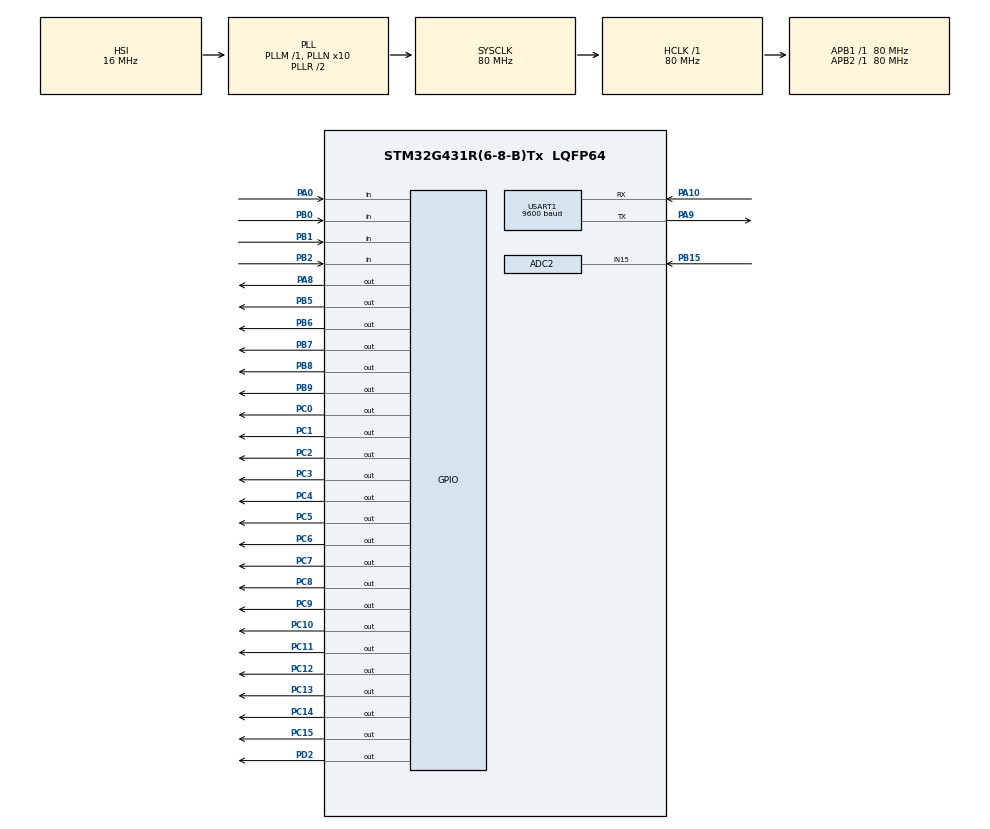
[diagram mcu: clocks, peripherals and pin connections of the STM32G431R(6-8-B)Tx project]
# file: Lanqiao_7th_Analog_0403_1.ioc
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ADC2.Channel-0\#ChannelRegularConversion=ADC_CHANNEL_15
ADC2.ClockPrescaler=ADC_CLOCK_ASYNC_DIV256
ADC2.ContinuousConvMode=DISABLE
ADC2.DMAContinuousRequests=ENABLE
ADC2.ExternalTrigConv=ADC_EXTERNALTRIG_T3_TRGO
ADC2.NbrOfConversionFlag=1
ADC2.OffsetNumber-0\#ChannelRegularConversion=ADC_OFFSET_NONE
ADC2.Rank-0\#ChannelRegularConversion=1
ADC2.SamplingTime-0\#ChannelRegularConversion=ADC_SAMPLETIME_2CYCLES_5
Dma.ADC2.0.Direction=DMA_PERIPH_TO_MEMORY
Dma.ADC2.0.EventEnable=DISABLE
Dma.ADC2.0.Instance=DMA1_Channel1
Dma.ADC2.0.MemDataAlignment=DMA_MDATAALIGN_HALFWORD
Dma.ADC2.0.MemInc=DMA_MINC_ENABLE
Dma.ADC2.0.Mode=DMA_CIRCULAR
Dma.ADC2.0.PeriphDataAlignment=DMA_PDATAALIGN_HALFWORD
Dma.ADC2.0.PeriphInc=DMA_PINC_DISABLE
Dma.ADC2.0.Polarity=HAL_DMAMUX_REQ_GEN_RISING
Dma.ADC2.0.Priority=DMA_PRIORITY_LOW
Dma.ADC2.0.RequestNumber=1
Dma.ADC2.0.SignalID=NONE
Dma.ADC2.0.SyncEnable=DISABLE
Dma.ADC2.0.SyncPolarity=HAL_DMAMUX_SYNC_NO_EVENT
Dma.ADC2.0.SyncRequestNumber=1
Dma.ADC2.0.SyncSignalID=NONE
Dma.Request0=ADC2
Dma.Request1=USART1_RX
Dma.USART1_RX.1.Direction=DMA_PERIPH_TO_MEMORY
Dma.USART1_RX.1.EventEnable=DISABLE
Dma.USART1_RX.1.Instance=DMA1_Channel2
Dma.USART1_RX.1.MemDataAlignment=DMA_MDATAALIGN_BYTE
Dma.USART1_RX.1.MemInc=DMA_MINC_ENABLE
Dma.USART1_RX.1.Mode=DMA_CIRCULAR
Dma.USART1_RX.1.PeriphDataAlignment=DMA_PDATAALIGN_BYTE
Dma.USART1_RX.1.PeriphInc=DMA_PINC_DISABLE
Dma.USART1_RX.1.Polarity=HAL_DMAMUX_REQ_GEN_RISING
Dma.USART1_RX.1.Priority=DMA_PRIORITY_LOW
Dma.USART1_RX.1.RequestNumber=1
Dma.USART1_RX.1.SignalID=NONE
Dma.USART1_RX.1.SyncEnable=DISABLE
Dma.USART1_RX.1.SyncPolarity=HAL_DMAMUX_SYNC_NO_EVENT
Dma.USART1_RX.1.SyncRequestNumber=1
Dma.USART1_RX.1.SyncSignalID=NONE
Mcu.Family=STM32G4
Mcu.Name=STM32G431R(6-8-B)Tx
Mcu.Package=LQFP64
NVIC.ADC1_2_IRQn=true\:3\:0\:true\:false\:true\:true\:true
NVIC.DMA1_Channel1_IRQn=true\:0\:0\:false\:false\:true\:false\:true
NVIC.DMA1_Channel2_IRQn=true\:0\:0\:false\:false\:true\:false\:true
NVIC.PriorityGroup=NVIC_PRIORITYGROUP_4
NVIC.RTC_Alarm_IRQn=true\:4\:0\:true\:false\:true\:true\:true
NVIC.TIM6_DAC_IRQn=true\:5\:0\:true\:false\:true\:true\:true
NVIC.TIM7_IRQn=true\:2\:0\:true\:false\:true\:true\:true
NVIC.USART1_IRQn=true\:1\:0\:true\:false\:true\:true\:true
PA0.Signal=GPIO_Input
PA10.Mode=Asynchronous
PA10.Signal=USART1_RX
PA8.Signal=GPIO_Output
PA9.Mode=Asynchronous
PA9.Signal=USART1_TX
PB0.Signal=GPIO_Input
PB1.Signal=GPIO_Input
PB15.Mode=IN15-Single-Ended
PB15.Signal=ADC2_IN15
PB2.Signal=GPIO_Input
PB5.Signal=GPIO_Output
PB6.Signal=GPIO_Output
PB7.Signal=GPIO_Output
PB8-BOOT0.Signal=GPIO_Output
PB9.Signal=GPIO_Output
PC0.Signal=GPIO_Output
PC1.Signal=GPIO_Output
PC10.Signal=GPIO_Output
PC11.Signal=GPIO_Output
PC12.Signal=GPIO_Output
PC13.Signal=GPIO_Output
PC14-OSC32_IN.Signal=GPIO_Output
PC15-OSC32_OUT.Signal=GPIO_Output
PC2.Signal=GPIO_Output
PC3.Signal=GPIO_Output
PC4.Signal=GPIO_Output
PC5.Signal=GPIO_Output
PC6.Signal=GPIO_Output
PC7.Signal=GPIO_Output
PC8.Signal=GPIO_Output
PC9.Signal=GPIO_Output
PD2.Signal=GPIO_Output
ProjectManager.HeapSize=0x200
ProjectManager.StackSize=0x400
ProjectManager.TargetToolchain=MDK-ARM V5
RCC.ADC12Freq_Value=80000000
RCC.AHBFreq_Value=80000000
RCC.APB1Freq_Value=80000000
RCC.APB1TimFreq_Value=80000000
RCC.APB2Freq_Value=80000000
RCC.APB2TimFreq_Value=80000000
RCC.CortexFreq_Value=80000000
RCC.EXTERNAL_CLOCK_VALUE=12288000
RCC.HCLKFreq_Value=80000000
RCC.HSE_VALUE=8000000
RCC.HSI48_VALUE=48000000
RCC.HSI_VALUE=16000000
RCC.LSE_VALUE=32768
RCC.PLLN=10
RCC.SYSCLKFreq_VALUE=80000000
RCC.SYSCLKSource=RCC_SYSCLKSOURCE_PLLCLK
RCC.USBFreq_Value=80000000
RCC.VCOOutputFreq_Value=160000000
RTC.Alarm-Alarm\ A=RTC_ALARM_A
RTC.Alarm_B-Alarm\ B=RTC_ALARM_B
RTC.Hours=23
RTC.Minutes=59
RTC.Seconds=55
RTC.SynchPrediv=249
TIM3.PeriodNoDither=999
TIM3.Prescaler=799
TIM3.TIM_MasterOutputTrigger=TIM_TRGO_UPDATE
TIM6.PeriodNoDither=9999
TIM6.Prescaler=7999
TIM7.PeriodNoDither=1999
TIM7.Prescaler=7999
USART1.BaudRate=9600
USART1.VirtualMode-Asynchronous=VM_ASYNC
VP_RTC_VS_RTC_Activate.Mode=RTC_Enabled
VP_RTC_VS_RTC_Alarm_A_Intern.Mode=Alarm A
VP_RTC_VS_RTC_Alarm_B_Intern.Mode=Alarm B
VP_RTC_VS_RTC_Calendar.Mode=RTC_Calendar
VP_SYS_VS_DBSignals.Mode=DisableDeadBatterySignals
VP_TIM3_VS_ClockSourceINT.Mode=Internal
VP_TIM6_VS_ClockSourceINT.Mode=Enable_Timer
VP_TIM7_VS_ClockSourceINT.Mode=Enable_Timer
board=custom

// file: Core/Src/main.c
/* USER CODE BEGIN Header */
/**
  ******************************************************************************
  * @file           : main.c
  * @brief          : Main program body
  ******************************************************************************
  * @attention
  *
  * <h2><center>&copy; Copyright (c) 2021 STMicroelectronics.
  * All rights reserved.</center></h2>
  *
  * This software component is licensed by ST under BSD 3-Clause license,
  * the "License"; You may not use this file except in compliance with the
  * License. You may obtain a copy of the License at:
  *                        opensource.org/licenses/BSD-3-Clause
  *
  ******************************************************************************
  */
/* USER CODE END Header */
#include "main.h"
#include "adc.h"
#include "dma.h"
#include "rtc.h"
#include "tim.h"
#include "usart.h"
#include "gpio.h"

/* USER CODE BEGIN Includes */
#include "lcd.h"
#include "i2c.h"
#include "string.h"
#include "stdio.h"
/* USER CODE END Includes */

/* USER CODE BEGIN PTD */
RTC_DateTypeDef userDate1,userDate2;
RTC_TimeTypeDef userTime1,userTime2;
typedef struct
{
	uint16_t hour,minu,seco;
}UploadT;
/* USER CODE END PTD */

/* USER CODE BEGIN PM */
#define print(X) HAL_UART_Transmit(&huart1,(uint8_t *)X,strlen(X),1000);
int fgetc(FILE *f)
{
	uint8_t ch;
	HAL_UART_Receive(&huart1,&ch,1,0xFFFF);
	return ch;
}
uint8_t x24c02_read(uint8_t address)
{
	unsigned char val;

	I2CStart();
	I2CSendByte(0xa0);
	I2CWaitAck();

	I2CSendByte(address);
	I2CWaitAck();

	I2CStart();
	I2CSendByte(0xa1);
	I2CWaitAck();
	val = I2CReceiveByte();
	I2CWaitAck();
	I2CStop();

	return(val);
}

void x24c02_write(unsigned char address,unsigned char info)
{
	I2CStart();
	I2CSendByte(0xa0);
	I2CWaitAck();

	I2CSendByte(address);
	I2CWaitAck();
	I2CSendByte(info);
	I2CWaitAck();
	I2CStop();
}
/* USER CODE END PM */

/* USER CODE BEGIN PV */
float volt,k=0.1;
char showVolt[22],showk[22],showTime[22],order[20],upload[30];
uint16_t ADC_Value[20];
uint32_t value;
uint8_t lcdState=1,ledEnable=1,GUIstate=0;  // GUIstate=0时是1界面，等于1时是2界面（设置界面）
uint8_t rxbuff,orderpoint;
UploadT ut,nt;      // upload time, now time
/* USER CODE END PV */

void SystemClock_Config(void);
/* USER CODE BEGIN PFP */
void keyscan()
{
	if (HAL_GPIO_ReadPin(GPIOB,GPIO_PIN_0)==GPIO_PIN_RESET)
	{
		while (HAL_GPIO_ReadPin(GPIOB,GPIO_PIN_0)==GPIO_PIN_RESET);
		ledEnable=!ledEnable;
	}
	if (HAL_GPIO_ReadPin(GPIOB,GPIO_PIN_1)==GPIO_PIN_RESET)
	{
		while (HAL_GPIO_ReadPin(GPIOB,GPIO_PIN_1)==GPIO_PIN_RESET);
		GUIstate=!GUIstate;
		if (GUIstate)
		{
			LCD_DisplayStringLine(Line2,(u8 *)"                    ");
			LCD_DisplayStringLine(Line1,(u8 *)"      Setting       ");
			LCD_DisplayStringLine(Line3,(u8 *)"                    ");
			LCD_DisplayStringLine(Line4,(u8 *)"                    ");
			LCD_DisplayStringLine(Line5,(u8 *)"                    ");
			LCD_DisplayStringLine(Line6,(u8 *)"                    ");
			LCD_DisplayStringLine(Line7,(u8 *)"                    ");
			LCD_DisplayStringLine(Line8,(u8 *)"                    ");
			LCD_DisplayStringLine(Line9,(u8 *)"                   2");
		}
		else
		{
			sprintf(showk,"    k:%.1f           ",k);
			LCD_DisplayStringLine(Line3,(u8 *)showk);
		}
	}
}
/* USER CODE END PFP */

int main(void)
{

  /* MCU Configuration--------------------------------------------------------*/

  /* Reset of all peripherals, Initializes the Flash interface and the Systick. */
  HAL_Init();

  /* Configure the system clock */
  SystemClock_Config();

  /* Initialize all configured peripherals */
  MX_GPIO_Init();
  MX_DMA_Init();
  MX_ADC2_Init();
  MX_USART1_UART_Init();
  MX_TIM6_Init();
  MX_TIM7_Init();
  MX_RTC_Init();
  MX_TIM3_Init();
  /* USER CODE BEGIN 2 */
	if (x24c02_read(0x01)!=99 && x24c02_read(0x25)!=88)
	{
		x24c02_write(0x01,99);
		x24c02_write(0x25,88);
		x24c02_write(0x08,1);
	}
	HAL_TIM_Base_Start_IT(&htim6);       // flush LCD
	//HAL_TIM_Base_Start_IT(&htim7);       // flush LED
	HAL_TIM_Base_Start(&htim3);
	HAL_GPIO_WritePin(GPIOD,GPIO_PIN_2,GPIO_PIN_SET);
	GPIOC->BSRR=0x0000FF00;
	HAL_GPIO_WritePin(GPIOD,GPIO_PIN_2,GPIO_PIN_RESET);
	LCD_Init();
	LCD_SetBackColor(Black);
	LCD_SetTextColor(White);
	LCD_DisplayStringLine(Line0,(u8 *)"                    ");
	LCD_DisplayStringLine(Line2,(u8 *)"                    ");
	sprintf(showk,"    k:%.1f           ",k);
	LCD_DisplayStringLine(Line3,(u8 *)showk);
	LCD_DisplayStringLine(Line4,(u8 *)"                    ");
	LCD_DisplayStringLine(Line6,(u8 *)"                    ");
	LCD_DisplayStringLine(Line8,(u8 *)"                    ");
	LCD_DisplayStringLine(Line9,(u8 *)"                   1");
	HAL_ADC_Start_DMA(&hadc2,(uint32_t *)ADC_Value,20);
	HAL_UART_Receive_IT(&huart1,&rxbuff,1);
	ut.hour=0;ut.minu=0;ut.seco=0;
  /* USER CODE END 2 */

  /* Infinite loop */
  /* USER CODE BEGIN WHILE */
  while (1)
  {
		keyscan();
    /* USER CODE END WHILE */

  }
}

void SystemClock_Config(void)
{
  RCC_OscInitTypeDef RCC_OscInitStruct = {0};
  RCC_ClkInitTypeDef RCC_ClkInitStruct = {0};
  RCC_PeriphCLKInitTypeDef PeriphClkInit = {0};

  /** Configure the main internal regulator output voltage
  */
  HAL_PWREx_ControlVoltageScaling(PWR_REGULATOR_VOLTAGE_SCALE1);
  /** Initializes the RCC Oscillators according to the specified parameters
  * in the RCC_OscInitTypeDef structure.
  */
  RCC_OscInitStruct.OscillatorType = RCC_OSCILLATORTYPE_HSI|RCC_OSCILLATORTYPE_LSI;
  RCC_OscInitStruct.HSIState = RCC_HSI_ON;
  RCC_OscInitStruct.HSICalibrationValue = RCC_HSICALIBRATION_DEFAULT;
  RCC_OscInitStruct.LSIState = RCC_LSI_ON;
  RCC_OscInitStruct.PLL.PLLState = RCC_PLL_ON;
  RCC_OscInitStruct.PLL.PLLSource = RCC_PLLSOURCE_HSI;
  RCC_OscInitStruct.PLL.PLLM = RCC_PLLM_DIV1;
  RCC_OscInitStruct.PLL.PLLN = 10;
  RCC_OscInitStruct.PLL.PLLP = RCC_PLLP_DIV2;
  RCC_OscInitStruct.PLL.PLLQ = RCC_PLLQ_DIV2;
  RCC_OscInitStruct.PLL.PLLR = RCC_PLLR_DIV2;
  if (HAL_RCC_OscConfig(&RCC_OscInitStruct) != HAL_OK)
  {
    Error_Handler();
  }
  /** Initializes the CPU, AHB and APB buses clocks
  */
  RCC_ClkInitStruct.ClockType = RCC_CLOCKTYPE_HCLK|RCC_CLOCKTYPE_SYSCLK
                              |RCC_CLOCKTYPE_PCLK1|RCC_CLOCKTYPE_PCLK2;
  RCC_ClkInitStruct.SYSCLKSource = RCC_SYSCLKSOURCE_PLLCLK;
  RCC_ClkInitStruct.AHBCLKDivider = RCC_SYSCLK_DIV1;
  RCC_ClkInitStruct.APB1CLKDivider = RCC_HCLK_DIV1;
  RCC_ClkInitStruct.APB2CLKDivider = RCC_HCLK_DIV1;

  if (HAL_RCC_ClockConfig(&RCC_ClkInitStruct, FLASH_LATENCY_2) != HAL_OK)
  {
    Error_Handler();
  }
  /** Initializes the peripherals clocks
  */
  PeriphClkInit.PeriphClockSelection = RCC_PERIPHCLK_RTC|RCC_PERIPHCLK_USART1
                              |RCC_PERIPHCLK_ADC12;
  PeriphClkInit.Usart1ClockSelection = RCC_USART1CLKSOURCE_PCLK2;
  PeriphClkInit.Adc12ClockSelection = RCC_ADC12CLKSOURCE_SYSCLK;
  PeriphClkInit.RTCClockSelection = RCC_RTCCLKSOURCE_LSI;

  if (HAL_RCCEx_PeriphCLKConfig(&PeriphClkInit) != HAL_OK)
  {
    Error_Handler();
  }
}

/* USER CODE BEGIN 4 */
void HAL_ADC_ConvCpltCallback(ADC_HandleTypeDef *hadc)
{
	value=0;
  for (int i=0;i<20;i++)
	{
		value+=ADC_Value[i];
	}
	if (!GUIstate)
	{
		volt=(float)value/4096.0*3.3/20;
		sprintf(showVolt,"    V:%.2fV         ",volt);
		LCD_DisplayStringLine(Line1,(u8 *)showVolt);
		if ((volt>k*3.3)&&ledEnable)
		{
			LCD_DisplayStringLine(Line5,(u8 *)"    LED:ON          ");
			HAL_TIM_Base_Start_IT(&htim7);
		}
		else
		{
			LCD_DisplayStringLine(Line5,(u8 *)"    LED:OFF         ");
			GPIOC->BSRR=0x0000FF00;
			HAL_GPIO_WritePin(GPIOD,GPIO_PIN_2,GPIO_PIN_SET);
			HAL_GPIO_WritePin(GPIOD,GPIO_PIN_2,GPIO_PIN_RESET);
			HAL_TIM_Base_Stop_IT(&htim7);
		}
	}

}
void HAL_TIM_PeriodElapsedCallback(TIM_HandleTypeDef *htim)
{
  if (htim->Instance==TIM6)
	{
		if (!GUIstate)
		{
			HAL_RTC_GetTime(&hrtc,&userTime1,RTC_FORMAT_BCD);
			HAL_RTC_GetDate(&hrtc,&userDate1,RTC_FORMAT_BCD);
			HAL_RTC_GetTime(&hrtc,&userTime2,RTC_FORMAT_BCD);
			HAL_RTC_GetDate(&hrtc,&userDate2,RTC_FORMAT_BCD);
			if (!(userTime1.Hours==userTime2.Hours && userTime1.Minutes==userTime2.Minutes
				  && userTime1.Seconds==userTime2.Seconds))
			{
				HAL_RTC_GetTime(&hrtc,&userTime1,RTC_FORMAT_BCD);
				HAL_RTC_GetDate(&hrtc,&userDate1,RTC_FORMAT_BCD);
			}
			nt.hour=(userTime1.Hours >> 4)*10+(userTime1.Hours & 15)%10;
			nt.minu=(userTime1.Minutes >> 4)*10+(userTime1.Minutes & 15)%10;
			nt.seco=(userTime1.Seconds >> 4)*10+(userTime1.Seconds & 15)%10;
			sprintf(showTime,"    T:%02u-%02u-%02u         ",nt.hour,nt.minu,nt.seco);
			if (nt.hour==ut.hour && nt.minu==ut.minu && nt.seco==ut.seco)
			{
				sprintf(upload,"%.2f+%.1f+%02u%02u%02u\n\r",volt,k,ut.hour,ut.minu,ut.seco);
				print(upload)
			}
			//sprintf(showTime,"%d\n\r",userTime1.Seconds);
			LCD_DisplayStringLine(Line7,(u8 *)showTime);
		}
	}
	 if (htim->Instance==TIM7)
	{
		if (lcdState)
		{
			GPIOC->BSRR=0x0100FE00;
			HAL_GPIO_WritePin(GPIOD,GPIO_PIN_2,GPIO_PIN_SET);
			HAL_GPIO_WritePin(GPIOD,GPIO_PIN_2,GPIO_PIN_RESET);
		}
		else
		{
			GPIOC->BSRR=0x0000FF00;
			HAL_GPIO_WritePin(GPIOD,GPIO_PIN_2,GPIO_PIN_SET);
			HAL_GPIO_WritePin(GPIOD,GPIO_PIN_2,GPIO_PIN_RESET);
		}
		lcdState=!lcdState;
	}
}
void HAL_UART_RxCpltCallback(UART_HandleTypeDef *huart)
{
  if (rxbuff!='\n')
	{
		order[orderpoint++]=rxbuff;
	}
	else
	{
		order[orderpoint]='\0';
		if (order[0]=='k')
		{
			k=(float)(order[3]-48)/10.0;
			x24c02_write(0x08,order[3]-48);
			sprintf(showk,"    k:%.1f           ",k);
			LCD_DisplayStringLine(Line3,(u8 *)showk);
			print("ok\n\r")
		}
		orderpoint=0;
	}
	HAL_UART_Receive_IT(&huart1,&rxbuff,1);
}
/* USER CODE END 4 */

void Error_Handler(void)
{
  __disable_irq();
  while (1)
  {
  }
}

/************************ (C) COPYRIGHT STMicroelectronics *****END OF FILE****/
